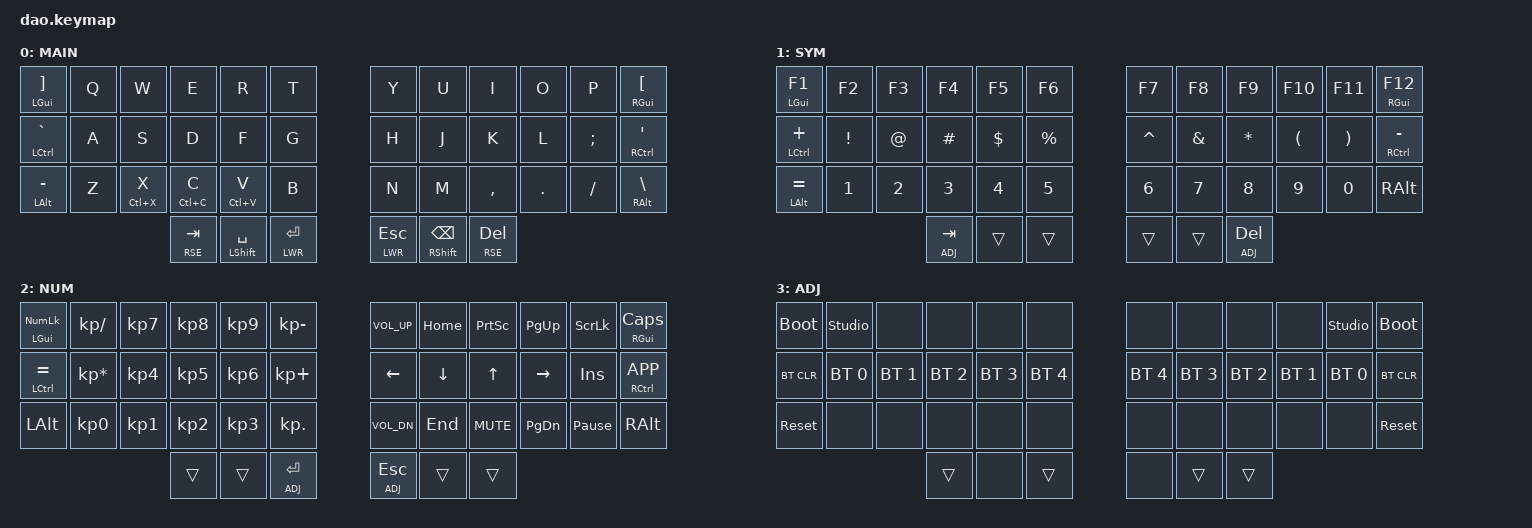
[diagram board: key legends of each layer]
/*
 * Copyright (c) 2021 Rafael Yumagulov
 *
 * SPDX-License-Identifier: MIT
 */

#include <behaviors.dtsi>
#include <dt-bindings/zmk/keys.h>
#include <dt-bindings/zmk/bt.h>

#define DEF 0
#define LWR 1
#define RSE 2
#define ADJ 3

&lt { quick-tap-ms = <200>; };
&mt {
  quick-tap-ms = <200>;
  flavor = "tap-preferred";
};

/ {
    chosen {
        zmk,physical_layout = &dao_crkbd_layout;
        // zmk,physical_layout = &dao_full_layout;
    };
};

/ {

    combos {
        compatible = "zmk,combos";
        timeout-ms = <20>;
        require-prior-idle-ms = <250>;

        combo_caps {
            key-positions = <19 22>;
            bindings = <&kp CLCK>;
        };
    };

        keymap {
                compatible = "zmk,keymap";

                default_layer {
                        display-name = "MAIN";
                        bindings = <
          &mt LGUI RBKT     &kp Q   &kp W       &kp E         &kp R             &kp T         &kp Y         &kp U            &kp I         &kp O     &kp P      &mt RGUI LBKT
          &mt LCTRL GRAVE   &kp A   &kp S       &kp D         &kp F             &kp G         &kp H         &kp J            &kp K         &kp L     &kp SEMI   &mt RCTRL SQT
          &mt LALT MINUS    &kp Z   &mt LC(X) X &mt LC(C) C   &mt LC(V) V       &kp B         &kp N         &kp M            &kp COMMA     &kp DOT   &kp FSLH   &mt RALT BSLH
                                    &lt RSE TAB   &mt LSHFT SPACE   &lt LWR RET   &lt LWR ESC   &mt RSHFT BSPC   &lt RSE DEL
                        >;
                };
                lower_layer {
                        display-name = "SYM";
                        bindings = <
          &mt LGUI F1      &kp F2     &kp F3   &kp F4        &kp F5     &kp F6      &kp F7      &kp F8     &kp F9        &kp F10    &kp F11    &mt RGUI F12
          &mt LCTRL PLUS   &kp EXCL   &kp AT   &kp HASH      &kp DLLR   &kp PRCNT   &kp CARET   &kp AMPS   &kp STAR      &kp LPAR   &kp RPAR   &mt RCTRL MINUS
          &mt LALT EQUAL   &kp N1     &kp N2   &kp N3        &kp N4     &kp N5      &kp N6      &kp N7     &kp N8        &kp N9     &kp N0     &kp RALT
                                               &lt ADJ TAB   &trans     &trans      &trans      &trans     &lt ADJ DEL
                        >;
                };

                raise_layer {
                        display-name = "NUM";
                        bindings = <
          &mt LGUI KP_NUM   &kp KP_SLASH      &kp KP_N7   &kp KP_N8   &kp KP_N9   &kp KP_MINUS   &kp C_VOL_UP   &kp HOME   &kp PSCRN   &kp PG_UP   &kp SLCK          &mt RGUI CLCK
          &mt LCTRL EQUAL   &kp KP_MULTIPLY   &kp KP_N4   &kp KP_N5   &kp KP_N6   &kp KP_PLUS    &kp LEFT       &kp DOWN   &kp UP      &kp RIGHT   &kp INS           &mt RCTRL  K_APP
           &kp LALT          &kp KP_N0         &kp KP_N1   &kp KP_N2   &kp KP_N3   &kp KP_DOT     &kp C_VOL_DN   &kp END    &kp C_MUTE   &kp PG_DN   &kp PAUSE_BREAK   &kp RALT
                                                          &trans      &trans      &lt ADJ RET    &lt ADJ ESC    &trans     &trans
                        >;
                };
                adjust_layer {
                        display-name = "ADJ";
                        bindings = <
 &bootloader   &studio_unlock &none          &none          &none          &none          &none          &none          &none          &none          &studio_unlock &bootloader
 &bt BT_CLR    &bt BT_SEL 0   &bt BT_SEL 1   &bt BT_SEL 2   &bt BT_SEL 3   &bt BT_SEL 4   &bt BT_SEL 4   &bt BT_SEL 3   &bt BT_SEL 2   &bt BT_SEL 1   &bt BT_SEL 0   &bt BT_CLR
 &sys_reset    &none          &none          &none          &none          &none          &none          &none          &none          &none          &none          &sys_reset
                                             &trans         &none          &trans         &none          &trans         &trans
                        >;
                };
        };
};
